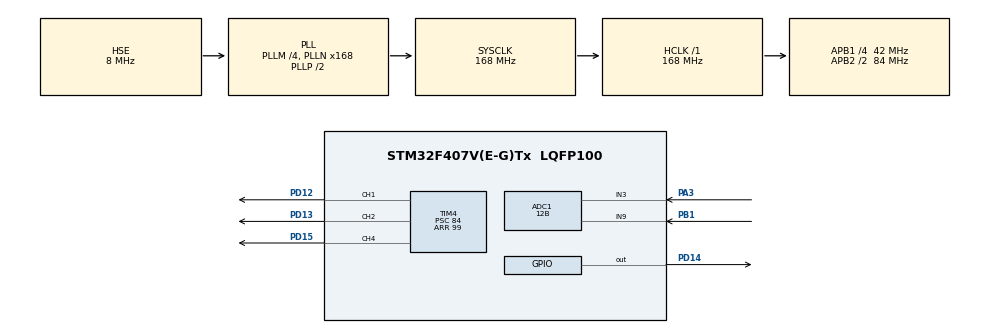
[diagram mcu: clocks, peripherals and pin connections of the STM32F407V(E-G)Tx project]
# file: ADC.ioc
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ADC1.Channel-4\#ChannelRegularConversion=ADC_CHANNEL_3
ADC1.Channel-5\#ChannelInjectedConversion=ADC_CHANNEL_9
ADC1.Channel-6\#ChannelInjectedConversion=ADC_CHANNEL_TEMPSENSOR
ADC1.ClockPrescaler=ADC_CLOCK_SYNC_PCLK_DIV8
ADC1.ContinuousConvMode=ENABLE
ADC1.InjNumberOfConversion=2
ADC1.InjectedConvMode=AutoInjected
ADC1.InjectedOffset-5\#ChannelInjectedConversion=0
ADC1.InjectedOffset-6\#ChannelInjectedConversion=0
ADC1.InjectedRank-5\#ChannelInjectedConversion=1
ADC1.InjectedRank-6\#ChannelInjectedConversion=2
ADC1.Mode=__NULL
ADC1.NbrOfConversionFlag=1
ADC1.Rank-4\#ChannelRegularConversion=1
ADC1.Resolution=ADC_RESOLUTION_12B
ADC1.SamplingTime-4\#ChannelRegularConversion=ADC_SAMPLETIME_480CYCLES
ADC1.SamplingTime-5\#ChannelInjectedConversion=ADC_SAMPLETIME_480CYCLES
ADC1.SamplingTime-6\#ChannelInjectedConversion=ADC_SAMPLETIME_480CYCLES
ADC1.ScanConvMode=ENABLE
ADC1.master=1
Mcu.Family=STM32F4
Mcu.Name=STM32F407V(E-G)Tx
Mcu.Package=LQFP100
NVIC.ADC_IRQn=true\:0\:0\:false\:false\:true\:true\:true
NVIC.PriorityGroup=NVIC_PRIORITYGROUP_4
NVIC.TIM3_IRQn=true\:0\:0\:false\:false\:true\:true\:true
NVIC.TIM4_IRQn=true\:0\:0\:false\:false\:true\:true\:true
PA3.Signal=ADCx_IN3
PB1.Signal=ADCx_IN9
PD12.Signal=S_TIM4_CH1
PD13.Signal=S_TIM4_CH2
PD14.Signal=GPIO_Output
PD15.Signal=S_TIM4_CH4
PH0-OSC_IN.Mode=HSE-External-Oscillator
PH0-OSC_IN.Signal=RCC_OSC_IN
PH1-OSC_OUT.Mode=HSE-External-Oscillator
PH1-OSC_OUT.Signal=RCC_OSC_OUT
ProjectManager.HeapSize=0x200
ProjectManager.StackSize=0x400
ProjectManager.TargetToolchain=STM32CubeIDE
RCC.48MHZClocksFreq_Value=84000000
RCC.AHBFreq_Value=168000000
RCC.APB1CLKDivider=RCC_HCLK_DIV4
RCC.APB1Freq_Value=42000000
RCC.APB1TimFreq_Value=84000000
RCC.APB2CLKDivider=RCC_HCLK_DIV2
RCC.APB2Freq_Value=84000000
RCC.APB2TimFreq_Value=168000000
RCC.CortexFreq_Value=168000000
RCC.HCLKFreq_Value=168000000
RCC.HSE_VALUE=8000000
RCC.HSI_VALUE=16000000
RCC.LSE_VALUE=32768
RCC.PLLM=4
RCC.PLLN=168
RCC.PLLSourceVirtual=RCC_PLLSOURCE_HSE
RCC.SYSCLKFreq_VALUE=168000000
RCC.SYSCLKSource=RCC_SYSCLKSOURCE_PLLCLK
RCC.VCOOutputFreq_Value=336000000
SH.ADCx_IN3.0=ADC3_IN3
SH.ADCx_IN3.1=ADC1_IN3,IN3
SH.ADCx_IN9.0=ADC1_IN9,IN9
SH.S_TIM4_CH1.0=TIM4_CH1,PWM Generation1 CH1
SH.S_TIM4_CH2.0=TIM4_CH2,PWM Generation2 CH2
SH.S_TIM4_CH4.0=TIM4_CH4,PWM Generation4 CH4
TIM3.AutoReloadPreload=TIM_AUTORELOAD_PRELOAD_ENABLE
TIM3.Period=1999
TIM3.Prescaler=41999
TIM4.AutoReloadPreload=TIM_AUTORELOAD_PRELOAD_ENABLE
TIM4.Channel-PWM\ Generation1\ CH1=TIM_CHANNEL_1
TIM4.Channel-PWM\ Generation2\ CH2=TIM_CHANNEL_2
TIM4.Channel-PWM\ Generation4\ CH4=TIM_CHANNEL_4
TIM4.ClockDivision=TIM_CLOCKDIVISION_DIV1
TIM4.Period=99
TIM4.Prescaler=84
TIM4.Pulse-PWM\ Generation1\ CH1=5
TIM4.Pulse-PWM\ Generation2\ CH2=5
TIM4.Pulse-PWM\ Generation4\ CH4=5
VP_ADC1_TempSens_Input.Mode=IN-TempSens
VP_TIM3_VS_ClockSourceINT.Mode=Internal
VP_TIM4_VS_ClockSourceINT.Mode=Internal
board=custom

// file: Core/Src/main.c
/* USER CODE BEGIN Header */
/**
 ******************************************************************************
 * @file           : main.c
 * @brief          : Main program body
 ******************************************************************************
 * @attention
 *
 * <h2><center>&copy; Copyright (c) 2021 STMicroelectronics.
 * All rights reserved.</center></h2>
 *
 * This software component is licensed by ST under BSD 3-Clause license,
 * the "License"; You may not use this file except in compliance with the
 * License. You may obtain a copy of the License at:
 *                        opensource.org/licenses/BSD-3-Clause
 *
 ******************************************************************************
 */
/* USER CODE END Header */
#include "main.h"

/* USER CODE BEGIN PD */
#define MAXADC 3800.f
#define MAXINTEMP 1175.f
#define MININTEMP 1075.f
#define MAXOUTTEMP 1270.f // Аналогично 35 градусам по Цельсию на внутреннем датчике
#define MINOUTTEMP 2507.f // Аналогично 5 градусам по Цельсию на внутреннем датчике
#define HZ_1 1999
#define HZ_2_5 799
#define HZ_5 399
/* USER CODE END PD */

ADC_HandleTypeDef hadc1;

TIM_HandleTypeDef htim3;
TIM_HandleTypeDef htim4;

/* USER CODE BEGIN PV */

static uint8_t emergency[3] = { 0 }, dangerLevel = 0;

enum {
	in3, in9, in16,
};

void HAL_ADC_ConvCpltCallback(ADC_HandleTypeDef *hadc) {

	uint32_t adcValue[3] = { 0 }; //Переменная для хранения значений с трех каналов АЦП

	adcValue[in3] = HAL_ADC_GetValue(&hadc1);
	adcValue[in9] = HAL_ADCEx_InjectedGetValue(&hadc1, ADC_INJECTED_RANK_1);
	adcValue[in16] = HAL_ADCEx_InjectedGetValue(&hadc1, ADC_INJECTED_RANK_2);

/* Работа с потенциометром */
	if (adcValue[in3] < MAXADC) {
		TIM4->CCR4 = ((TIM4->ARR) / MAXADC) * adcValue[in3];
		emergency[in3] = 0;
	} else {
		emergency[in3] = 1;
		TIM4->CCR4 = 95;
	}

/*Работа с внешним датчиком температуры*/
	if (adcValue[in9] > MAXOUTTEMP) {
		emergency[in9] = 0;
		TIM4->CCR1 = ((TIM4->ARR) / MINOUTTEMP) * (MINOUTTEMP - adcValue[in9]);
	} else {
		emergency[in9] = 1;
		TIM4->CCR1 = 95;
	}

/*Работа с внутренним датчиком температуры*/
	if (adcValue[in16] < MAXINTEMP) {
		emergency[in16] = 0;
		TIM4->CCR2 = ((TIM4->ARR) / (MAXINTEMP - MININTEMP))
				* (adcValue[in16] - MININTEMP);
	} else {
		emergency[in16] = 1;
		TIM4->CCR2 = 95;
	}
}
/* USER CODE END PV */

void SystemClock_Config(void);
static void MX_GPIO_Init(void);
static void MX_TIM4_Init(void);
static void MX_ADC1_Init(void);
static void MX_TIM3_Init(void);

int main(void) {

	/* MCU Configuration--------------------------------------------------------*/

	/* Reset of all peripherals, Initializes the Flash interface and the Systick. */
	HAL_Init();

	/* Configure the system clock */
	SystemClock_Config();

	/* Initialize all configured peripherals */
	MX_GPIO_Init();
	MX_TIM4_Init();
	MX_ADC1_Init();
	MX_TIM3_Init();
	/* USER CODE BEGIN 2 */
	HAL_ADC_Start(&hadc1);
	HAL_ADC_Start_IT(&hadc1);

	HAL_TIM_PWM_Start(&htim4, TIM_CHANNEL_1);
	HAL_TIM_PWM_Start(&htim4, TIM_CHANNEL_4);
	HAL_TIM_PWM_Start(&htim4, TIM_CHANNEL_2);
	/* USER CODE END 2 */

	/* Infinite loop */
	/* USER CODE BEGIN WHILE */

	while (1)

	{
		if ((!emergency[in3]) && (!emergency[in9]) && (!emergency[in16])) // Проверка на наличие аварийных ситуаций
		{
			HAL_TIM_Base_Stop_IT(&htim3);
			HAL_GPIO_WritePin(GPIOD, GPIO_PIN_14, GPIO_PIN_RESET);
		}
		else
		{
			for (int i = 0; i < 3; i++)
				dangerLevel += emergency[i];

			switch (dangerLevel) //Кол-во аварийных ситуаций
			{
			case 1:
				TIM3->ARR = HZ_1;
				dangerLevel = 0;
				break;
			case 2:
				TIM3->ARR = HZ_2_5;
				dangerLevel = 0;
				break;
			case 3:
				TIM3->ARR = HZ_5;
				dangerLevel = 0;
				break;
			}

			HAL_TIM_Base_Start_IT(&htim3);
		}
		/* USER CODE END WHILE */

	}
}

void SystemClock_Config(void) {
	RCC_OscInitTypeDef RCC_OscInitStruct = { 0 };
	RCC_ClkInitTypeDef RCC_ClkInitStruct = { 0 };

	/** Configure the main internal regulator output voltage
	 */
	__HAL_RCC_PWR_CLK_ENABLE();
	__HAL_PWR_VOLTAGESCALING_CONFIG(PWR_REGULATOR_VOLTAGE_SCALE1);
	/** Initializes the RCC Oscillators according to the specified parameters
	 * in the RCC_OscInitTypeDef structure.
	 */
	RCC_OscInitStruct.OscillatorType = RCC_OSCILLATORTYPE_HSE;
	RCC_OscInitStruct.HSEState = RCC_HSE_ON;
	RCC_OscInitStruct.PLL.PLLState = RCC_PLL_ON;
	RCC_OscInitStruct.PLL.PLLSource = RCC_PLLSOURCE_HSE;
	RCC_OscInitStruct.PLL.PLLM = 4;
	RCC_OscInitStruct.PLL.PLLN = 168;
	RCC_OscInitStruct.PLL.PLLP = RCC_PLLP_DIV2;
	RCC_OscInitStruct.PLL.PLLQ = 4;
	if (HAL_RCC_OscConfig(&RCC_OscInitStruct) != HAL_OK) {
		Error_Handler();
	}
	/** Initializes the CPU, AHB and APB buses clocks
	 */
	RCC_ClkInitStruct.ClockType = RCC_CLOCKTYPE_HCLK | RCC_CLOCKTYPE_SYSCLK
			| RCC_CLOCKTYPE_PCLK1 | RCC_CLOCKTYPE_PCLK2;
	RCC_ClkInitStruct.SYSCLKSource = RCC_SYSCLKSOURCE_PLLCLK;
	RCC_ClkInitStruct.AHBCLKDivider = RCC_SYSCLK_DIV1;
	RCC_ClkInitStruct.APB1CLKDivider = RCC_HCLK_DIV4;
	RCC_ClkInitStruct.APB2CLKDivider = RCC_HCLK_DIV2;

	if (HAL_RCC_ClockConfig(&RCC_ClkInitStruct, FLASH_LATENCY_5) != HAL_OK) {
		Error_Handler();
	}
}

static void MX_ADC1_Init(void) {

	ADC_ChannelConfTypeDef sConfig = { 0 };
	ADC_InjectionConfTypeDef sConfigInjected = { 0 };

	/** Configure the global features of the ADC (Clock, Resolution, Data Alignment and number of conversion)
	 */
	hadc1.Instance = ADC1;
	hadc1.Init.ClockPrescaler = ADC_CLOCK_SYNC_PCLK_DIV8;
	hadc1.Init.Resolution = ADC_RESOLUTION_12B;
	hadc1.Init.ScanConvMode = ENABLE;
	hadc1.Init.ContinuousConvMode = ENABLE;
	hadc1.Init.DiscontinuousConvMode = DISABLE;
	hadc1.Init.ExternalTrigConvEdge = ADC_EXTERNALTRIGCONVEDGE_NONE;
	hadc1.Init.ExternalTrigConv = ADC_SOFTWARE_START;
	hadc1.Init.DataAlign = ADC_DATAALIGN_RIGHT;
	hadc1.Init.NbrOfConversion = 1;
	hadc1.Init.DMAContinuousRequests = DISABLE;
	hadc1.Init.EOCSelection = ADC_EOC_SINGLE_CONV;
	if (HAL_ADC_Init(&hadc1) != HAL_OK) {
		Error_Handler();
	}
	/** Configure for the selected ADC regular channel its corresponding rank in the sequencer and its sample time.
	 */
	sConfig.Channel = ADC_CHANNEL_3;
	sConfig.Rank = 1;
	sConfig.SamplingTime = ADC_SAMPLETIME_480CYCLES;
	if (HAL_ADC_ConfigChannel(&hadc1, &sConfig) != HAL_OK) {
		Error_Handler();
	}
	/** Configures for the selected ADC injected channel its corresponding rank in the sequencer and its sample time
	 */
	sConfigInjected.InjectedChannel = ADC_CHANNEL_9;
	sConfigInjected.InjectedRank = 1;
	sConfigInjected.InjectedNbrOfConversion = 2;
	sConfigInjected.InjectedSamplingTime = ADC_SAMPLETIME_480CYCLES;
	sConfigInjected.ExternalTrigInjecConvEdge =
			ADC_EXTERNALTRIGINJECCONVEDGE_NONE;
	sConfigInjected.ExternalTrigInjecConv = ADC_INJECTED_SOFTWARE_START;
	sConfigInjected.AutoInjectedConv = ENABLE;
	sConfigInjected.InjectedDiscontinuousConvMode = DISABLE;
	sConfigInjected.InjectedOffset = 0;
	if (HAL_ADCEx_InjectedConfigChannel(&hadc1, &sConfigInjected) != HAL_OK) {
		Error_Handler();
	}
	/** Configures for the selected ADC injected channel its corresponding rank in the sequencer and its sample time
	 */
	sConfigInjected.InjectedChannel = ADC_CHANNEL_TEMPSENSOR;
	sConfigInjected.InjectedRank = 2;
	if (HAL_ADCEx_InjectedConfigChannel(&hadc1, &sConfigInjected) != HAL_OK) {
		Error_Handler();
	}

}

static void MX_TIM3_Init(void) {

	TIM_ClockConfigTypeDef sClockSourceConfig = { 0 };
	TIM_MasterConfigTypeDef sMasterConfig = { 0 };

	htim3.Instance = TIM3;
	htim3.Init.Prescaler = 41999;
	htim3.Init.CounterMode = TIM_COUNTERMODE_UP;
	htim3.Init.Period = 1999;
	htim3.Init.ClockDivision = TIM_CLOCKDIVISION_DIV1;
	htim3.Init.AutoReloadPreload = TIM_AUTORELOAD_PRELOAD_ENABLE;
	if (HAL_TIM_Base_Init(&htim3) != HAL_OK) {
		Error_Handler();
	}
	sClockSourceConfig.ClockSource = TIM_CLOCKSOURCE_INTERNAL;
	if (HAL_TIM_ConfigClockSource(&htim3, &sClockSourceConfig) != HAL_OK) {
		Error_Handler();
	}
	sMasterConfig.MasterOutputTrigger = TIM_TRGO_RESET;
	sMasterConfig.MasterSlaveMode = TIM_MASTERSLAVEMODE_DISABLE;
	if (HAL_TIMEx_MasterConfigSynchronization(&htim3, &sMasterConfig)
			!= HAL_OK) {
		Error_Handler();
	}

}

static void MX_TIM4_Init(void) {

	TIM_ClockConfigTypeDef sClockSourceConfig = { 0 };
	TIM_MasterConfigTypeDef sMasterConfig = { 0 };
	TIM_OC_InitTypeDef sConfigOC = { 0 };

	htim4.Instance = TIM4;
	htim4.Init.Prescaler = 84;
	htim4.Init.CounterMode = TIM_COUNTERMODE_UP;
	htim4.Init.Period = 99;
	htim4.Init.ClockDivision = TIM_CLOCKDIVISION_DIV1;
	htim4.Init.AutoReloadPreload = TIM_AUTORELOAD_PRELOAD_ENABLE;
	if (HAL_TIM_Base_Init(&htim4) != HAL_OK) {
		Error_Handler();
	}
	sClockSourceConfig.ClockSource = TIM_CLOCKSOURCE_INTERNAL;
	if (HAL_TIM_ConfigClockSource(&htim4, &sClockSourceConfig) != HAL_OK) {
		Error_Handler();
	}
	if (HAL_TIM_PWM_Init(&htim4) != HAL_OK) {
		Error_Handler();
	}
	sMasterConfig.MasterOutputTrigger = TIM_TRGO_RESET;
	sMasterConfig.MasterSlaveMode = TIM_MASTERSLAVEMODE_DISABLE;
	if (HAL_TIMEx_MasterConfigSynchronization(&htim4, &sMasterConfig)
			!= HAL_OK) {
		Error_Handler();
	}
	sConfigOC.OCMode = TIM_OCMODE_PWM1;
	sConfigOC.Pulse = 5;
	sConfigOC.OCPolarity = TIM_OCPOLARITY_HIGH;
	sConfigOC.OCFastMode = TIM_OCFAST_DISABLE;
	if (HAL_TIM_PWM_ConfigChannel(&htim4, &sConfigOC, TIM_CHANNEL_1)
			!= HAL_OK) {
		Error_Handler();
	}
	if (HAL_TIM_PWM_ConfigChannel(&htim4, &sConfigOC, TIM_CHANNEL_2)
			!= HAL_OK) {
		Error_Handler();
	}
	if (HAL_TIM_PWM_ConfigChannel(&htim4, &sConfigOC, TIM_CHANNEL_4)
			!= HAL_OK) {
		Error_Handler();
	}
	HAL_TIM_MspPostInit(&htim4);

}

static void MX_GPIO_Init(void) {
	GPIO_InitTypeDef GPIO_InitStruct = { 0 };

	/* GPIO Ports Clock Enable */
	__HAL_RCC_GPIOH_CLK_ENABLE();
	__HAL_RCC_GPIOA_CLK_ENABLE();
	__HAL_RCC_GPIOB_CLK_ENABLE();
	__HAL_RCC_GPIOD_CLK_ENABLE();

	/*Configure GPIO pin Output Level */
	HAL_GPIO_WritePin(GPIOD, GPIO_PIN_14, GPIO_PIN_RESET);

	/*Configure GPIO pin : PA3 */
	GPIO_InitStruct.Pin = GPIO_PIN_3;
	GPIO_InitStruct.Mode = GPIO_MODE_ANALOG;
	GPIO_InitStruct.Pull = GPIO_NOPULL;
	HAL_GPIO_Init(GPIOA, &GPIO_InitStruct);

	/*Configure GPIO pin : PD14 */
	GPIO_InitStruct.Pin = GPIO_PIN_14;
	GPIO_InitStruct.Mode = GPIO_MODE_OUTPUT_PP;
	GPIO_InitStruct.Pull = GPIO_NOPULL;
	GPIO_InitStruct.Speed = GPIO_SPEED_FREQ_LOW;
	HAL_GPIO_Init(GPIOD, &GPIO_InitStruct);

}

void Error_Handler(void) {
	__disable_irq();
	while (1) {
	}
}

/************************ (C) COPYRIGHT STMicroelectronics *****END OF FILE****/
